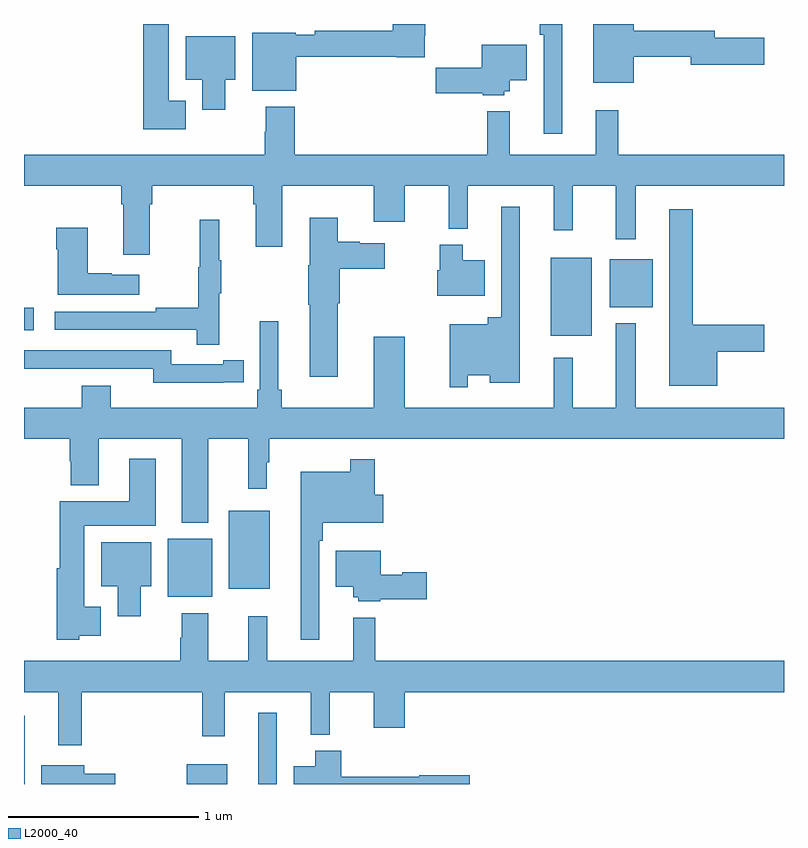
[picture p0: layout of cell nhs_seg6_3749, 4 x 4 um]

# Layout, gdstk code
import gdstk
lib = gdstk.Library(unit=1e-6, precision=1e-09)
def R(c, l, rs):  # rectangles x0, y0, x1, y1
    for r in rs: c.add(gdstk.rectangle(r[:2], r[2:], *l))
def P(c, l, *ps):  # polygons
    for p in ps: c.add(gdstk.Polygon(p, *l))
L2000_40 = (2000, 40)

nhs_seg6_3749 = lib.new_cell('nhs_seg6_3749')
R(nhs_seg6_3749, L2000_40, [(331,965.5,331.003,965.86), (331.856,965.5,332.071,965.605), (332.234,965.5,332.331,965.875), (331.757,966.485,331.99,966.79), (332.078,966.527,332.293,966.937), (333.773,967.859,333.988,968.269), (331,967.887,331.051,968.007), (334.082,968.009,334.309,968.263)])
P(nhs_seg6_3749, L2000_40, [(334.21,969.328),(334.508,969.328),(334.508,969.286),(334.897,969.286),(334.897,969.428),(334.636,969.428),(334.636,969.464),(334.21,969.464),(334.21,969.5),(333.995,969.5),(333.995,969.191),(334.21,969.191)],
  [(332.434,969.328),(332.958,969.328),(332.958,969.326),(333.108,969.326),(333.108,969.439),(333.112,969.439),(333.112,969.5),(332.942,969.5),(332.942,969.464),(332.53,969.464),(332.53,969.444),(332.43,969.444),(332.43,969.454),(332.201,969.454),(332.201,969.149),(332.434,969.149)],
  [(333.832,969.5),(333.715,969.5),(333.715,969.443),(333.735,969.443),(333.735,968.922),(333.832,968.922)],
  [(331.852,969.097),(331.762,969.097),(331.762,969.5),(331.628,969.5),(331.628,968.945),(331.852,968.945)],
  [(332.059,969.206),(332.113,969.206),(332.113,969.436),(331.85,969.436),(331.85,969.206),(331.937,969.206),(331.937,969.048),(332.059,969.048)],
  [(333.528,969.147),(333.556,969.147),(333.556,969.203),(333.646,969.203),(333.646,969.391),(333.41,969.391),(333.41,969.271),(333.168,969.271),(333.168,969.136),(333.414,969.136),(333.414,969.125),(333.528,969.125)],
  [(332.84,968.46),(333.004,968.46),(333.004,968.648),(333.235,968.648),(333.235,968.423),(333.335,968.423),(333.335,968.648),(333.788,968.648),(333.788,968.415),(333.888,968.415),(333.888,968.648),(334.115,968.648),(334.115,968.367),(334.219,968.367),(334.219,968.648),(335,968.648),(335,968.812),(334.127,968.812),(334.127,969.046),(334.01,969.046),(334.01,968.812),(333.557,968.812),(333.557,969.04),(333.439,969.04),(333.439,968.812),(332.426,968.812),(332.426,969.064),(332.273,969.064),(332.273,968.933),(332.266,968.933),(332.266,968.812),(331,968.812),(331,968.648),(331.511,968.648),(331.511,968.552),(331.523,968.552),(331.523,968.286),(331.663,968.286),(331.663,968.552),(331.676,968.552),(331.676,968.648),(332.207,968.648),(332.207,968.552),(332.219,968.552),(332.219,968.328),(332.359,968.328),(332.359,968.648),(332.84,968.648)],
  [(333.336,967.652),(333.452,967.652),(333.452,967.613),(333.61,967.613),(333.61,968.539),(333.513,968.539),(333.513,967.957),(333.44,967.957),(333.44,967.921),(333.24,967.921),(333.24,967.587),(333.336,967.587)],
  [(334.648,967.774),(334.897,967.774),(334.897,967.916),(334.519,967.916),(334.519,968.524),(334.397,968.524),(334.397,967.595),(334.648,967.595)],
  [(332.65,968.029),(332.663,968.029),(332.663,968.213),(332.899,968.213),(332.899,968.347),(332.766,968.347),(332.766,968.355),(332.65,968.355),(332.65,968.479),(332.504,968.479),(332.504,968.229),(332.497,968.229),(332.497,968.023),(332.504,968.023),(332.504,967.644),(332.65,967.644)],
  [(332.027,968.083),(332.038,968.083),(332.038,968.257),(332.027,968.257),(332.027,968.47),(331.924,968.47),(331.924,968.22),(331.917,968.22),(331.917,968.006),(331.693,968.006),(331.693,967.986),(331.161,967.986),(331.161,967.89),(331.909,967.89),(331.909,967.812),(332.027,967.812)],
  [(331.606,968.179),(331.463,968.179),(331.463,968.189),(331.336,968.189),(331.336,968.428),(331.171,968.428),(331.171,968.315),(331.178,968.315),(331.178,968.075),(331.606,968.075)],
  [(333.424,968.257),(333.31,968.257),(333.31,968.338),(333.188,968.338),(333.188,968.205),(333.176,968.205),(333.176,968.069),(333.424,968.069)],
  [(331.969,967.316),(332.18,967.316),(332.18,967.053),(332.278,967.053),(332.278,967.193),(332.29,967.193),(332.29,967.316),(335,967.316),(335,967.48),(334.219,967.48),(334.219,967.924),(334.115,967.924),(334.115,967.48),(333.888,967.48),(333.888,967.744),(333.788,967.744),(333.788,967.48),(333.004,967.48),(333.004,967.855),(332.84,967.855),(332.84,967.48),(332.357,967.48),(332.357,967.576),(332.338,967.576),(332.338,967.936),(332.241,967.936),(332.241,967.576),(332.228,967.576),(332.228,967.48),(331.456,967.48),(331.456,967.597),(331.304,967.597),(331.304,967.48),(331,967.48),(331,967.316),(331.241,967.316),(331.241,967.2),(331.246,967.2),(331.246,967.073),(331.393,967.073),(331.393,967.316),(331.829,967.316),(331.829,966.875),(331.969,966.875)],
  [(332.048,967.614),(332.156,967.614),(332.156,967.73),(332.048,967.73),(332.048,967.71),(331.776,967.71),(331.776,967.782),(331,967.782),(331,967.685),(331.22,967.685),(331.22,967.686),(331.68,967.686),(331.68,967.613),(332.048,967.613)],
  [(331.29,966.281),(331.405,966.281),(331.405,966.433),(331.318,966.433),(331.318,966.86),(331.693,966.86),(331.693,967.213),(331.553,967.213),(331.553,966.988),(331.189,966.988),(331.189,966.636),(331.172,966.636),(331.172,966.26),(331.29,966.26)],
  [(332.553,966.779),(332.573,966.779),(332.573,966.875),(332.89,966.875),(332.89,967.023),(332.846,967.023),(332.846,967.21),(332.718,967.21),(332.718,967.144),(332.456,967.144),(332.456,966.258),(332.553,966.258)],
  [(331.615,966.542),(331.669,966.542),(331.669,966.772),(331.406,966.772),(331.406,966.542),(331.493,966.542),(331.493,966.384),(331.615,966.384)],
  [(332.874,966.472),(333.121,966.472),(333.121,966.614),(332.991,966.614),(332.991,966.601),(332.878,966.601),(332.878,966.727),(332.642,966.727),(332.642,966.539),(332.732,966.539),(332.732,966.483),(332.76,966.483),(332.76,966.461),(332.874,966.461)],
  [(331.303,965.984),(331.939,965.984),(331.939,965.751),(332.057,965.751),(332.057,965.984),(332.51,965.984),(332.51,965.759),(332.61,965.759),(332.61,965.984),(332.84,965.984),(332.84,965.796),(333.004,965.796),(333.004,965.984),(335,965.984),(335,966.148),(332.849,966.148),(332.849,966.376),(332.732,966.376),(332.732,966.148),(332.279,966.148),(332.279,966.382),(332.18,966.382),(332.18,966.148),(331.969,966.148),(331.969,966.4),(331.829,966.4),(331.829,966.269),(331.822,966.269),(331.822,966.148),(331,966.148),(331,965.984),(331.181,965.984),(331.181,965.703),(331.303,965.703)],
  [(333.347,965.545),(333.08,965.545),(333.08,965.537),(332.669,965.537),(332.669,965.674),(332.534,965.674),(332.534,965.593),(332.42,965.593),(332.42,965.5),(333.347,965.5)],
  [(331.48,965.553),(331.318,965.553),(331.318,965.599),(331.091,965.599),(331.091,965.5),(331.48,965.5)])

lib.write_gds('nhs_seg6_3749.gds')
